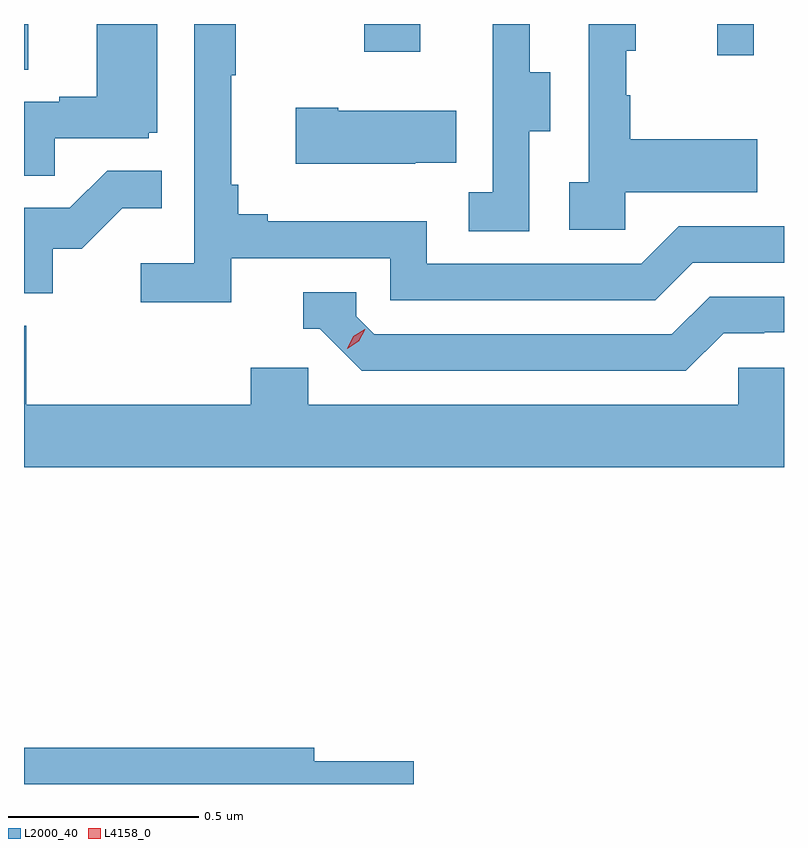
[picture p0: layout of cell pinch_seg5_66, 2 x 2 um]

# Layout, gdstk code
import gdstk
lib = gdstk.Library(unit=1e-6, precision=1e-09)
def R(c, l, rs):  # rectangles x0, y0, x1, y1
    for r in rs: c.add(gdstk.rectangle(r[:2], r[2:], *l))
def P(c, l, *ps):  # polygons
    for p in ps: c.add(gdstk.Polygon(p, *l))
L2000_40 = (2000, 40)
L4158_0 = (4158, 0)

pinch_seg5_66 = lib.new_cell('pinch_seg5_66')
R(pinch_seg5_66, L2000_40, [(1058.702,901.762,1058.713,901.882), (1060.526,901.8,1060.623,901.882), (1059.598,901.809,1059.745,901.882)])
P(pinch_seg5_66, L2000_40, [(1059.248,901.266),(1059.666,901.266),(1059.666,901.155),(1060.363,901.155),(1060.462,901.254),(1060.702,901.254),(1060.702,901.35),(1060.425,901.35),(1060.326,901.251),(1059.762,901.251),(1059.762,901.363),(1059.343,901.363),(1059.343,901.382),(1059.266,901.382),(1059.266,901.459),(1059.247,901.459),(1059.247,901.747),(1059.259,901.747),(1059.259,901.882),(1059.15,901.882),(1059.15,901.252),(1059.009,901.252),(1059.009,901.15),(1059.248,901.15)],
  [(1060.032,901.6),(1060.087,901.6),(1060.087,901.755),(1060.033,901.755),(1060.033,901.882),(1059.935,901.882),(1059.935,901.743),(1059.936,901.743),(1059.936,901.439),(1059.873,901.439),(1059.873,901.336),(1060.032,901.336)],
  [(1058.783,901.581),(1059.03,901.581),(1059.03,901.596),(1059.052,901.596),(1059.052,901.882),(1058.894,901.882),(1058.894,901.69),(1058.795,901.69),(1058.795,901.677),(1058.702,901.677),(1058.702,901.483),(1058.783,901.483)],
  [(1060.284,901.439),(1060.631,901.439),(1060.631,901.579),(1060.297,901.579),(1060.297,901.694),(1060.287,901.694),(1060.287,901.812),(1060.312,901.812),(1060.312,901.882),(1060.188,901.882),(1060.188,901.466),(1060.137,901.466),(1060.137,901.341),(1060.284,901.341)],
  [(1059.731,901.517),(1059.839,901.517),(1059.839,901.654),(1059.529,901.654),(1059.529,901.662),(1059.417,901.662),(1059.417,901.514),(1059.731,901.514)],
  [(1058.778,901.29),(1058.854,901.29),(1058.961,901.397),(1059.065,901.397),(1059.065,901.496),(1058.921,901.496),(1058.823,901.398),(1058.702,901.398),(1058.702,901.173),(1058.778,901.173)],
  [(1060.543,901.068),(1060.65,901.068),(1060.65,901.071),(1060.702,901.071),(1060.702,901.164),(1060.506,901.164),(1060.407,901.065),(1059.624,901.065),(1059.576,901.113),(1059.576,901.176),(1059.437,901.176),(1059.437,901.08),(1059.48,901.08),(1059.591,900.969),(1060.444,900.969)],
  [(1060.702,900.978),(1060.581,900.978),(1060.581,900.88),(1059.45,900.88),(1059.45,900.978),(1059.299,900.978),(1059.299,900.88),(1058.708,900.88),(1058.708,901.088),(1058.702,901.088),(1058.702,900.716),(1060.702,900.716)],
  [(1059.727,899.942),(1059.466,899.942),(1059.466,899.978),(1058.702,899.978),(1058.702,899.882),(1059.727,899.882)])
P(pinch_seg5_66, L4158_0, [(1059.552,901.027),(1059.552,901.028),(1059.569,901.06),(1059.599,901.079),(1059.6,901.079),(1059.6,901.079),(1059.583,901.047),(1059.553,901.027)])

lib.write_gds('pinch_seg5_66.gds')
